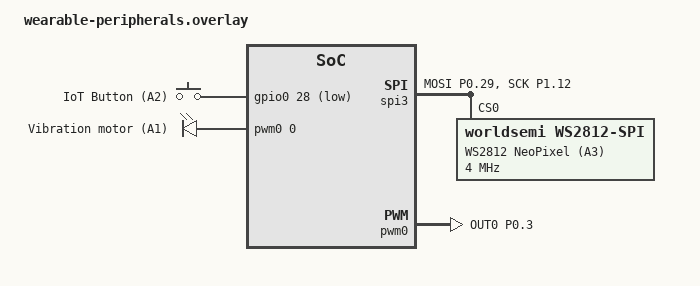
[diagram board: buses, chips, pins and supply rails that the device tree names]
// Copyright (c) 2025-2026 Kelvin Lee. Licensed under MIT.
//
// Wearable wearable peripherals overlay.
// Layer this on top of xiao_ble_sense_devkitv2-adafruit.overlay via west:
//
//   west build -b xiao_ble_sense -d build_wearable -- \
//     -DEXTRA_CONF_FILE=prj_wearable.conf \
//     -DEXTRA_DTC_OVERLAY_FILE="overlay/xiao_ble_sense_devkitv2-adafruit.overlay;overlay/wearable-peripherals.overlay"
//
// Changes vs the upstream devkit v2 overlay:
//   1. Disables &i2s0 — Kelvin's build has no speaker BFF. Frees A1/A2/A3.
//   2. Wires A2 (P0.28) as GPIO input for the Adafruit IoT Button + NeoPixel BFF.
//   3. Wires A3 (P0.29) as SPIM3 MOSI for the WS2812 NeoPixel (worldsemi,
//      ws2812-spi). SPIM3 has no TWIM sibling, unlike SPIM1 (= i2c1) — see below.
//   4. Wires A1 (P0.03) as PWM0 channel 0 for an optional second haptic motor.
//      Unused if Kelvin hasn't soldered the extra motor — safe to leave enabled.
//
// Pin map authority: ../../docs/PIN_MAP.md

#include <zephyr/dt-bindings/led/led.h>

/ {
    aliases {
        iot-button = &iot_button;
        led-strip = &led_strip;
        vibration-pwm = &vibration_pwm;
    };

    buttons {
        compatible = "gpio-keys";

        iot_button: button_iot {
            gpios = <&gpio0 28 (GPIO_PULL_UP | GPIO_ACTIVE_LOW)>;
            label = "IoT Button (A2)";
            zephyr,code = <INPUT_KEY_0>;
        };
    };

    pwmleds {
        compatible = "pwm-leds";

        vibration_pwm: vibration_pwm {
            pwms = <&pwm0 0 PWM_MSEC(20) PWM_POLARITY_NORMAL>;
            label = "Vibration motor (A1)";
        };
    };

};

// Free A1/A2/A3 from the upstream devkit's I2S speaker wiring.
&i2s0 {
    status = "disabled";
};

// Mic-silence fix (2026-07-01): the Xiao Sense board DTS leaves &pdm0 ENABLED
// with pinctrl (pdm0_default/pdm0_sleep) that owns the mic pins P1.00/P0.16.
// This firmware drives PDM via raw nrfx (not the Zephyr DMIC driver) and never
// resumes the pdm0 device, so under CONFIG_PM_DEVICE its sleep-pinctrl parks
// DIN (P0.16) as a disconnected input — the PDM clock runs but DIN reads a
// constant zero, so every Opus frame decodes to silence. Disabling the Zephyr
// node removes the second owner and leaves nrfx as the sole configurator of the
// mic pins.
&pdm0 {
    status = "disabled";
};

// NeoPixel on A3 via SPIM3 (worldsemi,ws2812-spi). SPIM3 (0x4002F000) is the
// standalone SPI instance with NO TWIM sibling. SPIM1 shares peripheral instance
// 1 (0x40004000) with the board's i2c1/TWIM1 — xiao_ble_common.dtsi enables i2c1
// with the note "Cannot be used together with spi1" — so enabling &spi1 for the
// WS2812 collided two drivers on one block/IRQ and hard-faulted. SPIM3 sidesteps
// that, and being pure EasyDMA (no irq_lock) it coexists cleanly with BLE.
&spi3 {
    status = "okay";
    pinctrl-0 = <&spi3_wearable>;
    pinctrl-1 = <&spi3_wearable_sleep>;
    pinctrl-names = "default", "sleep";
    /delete-property/ cs-gpios;

    led_strip: ws2812@0 {
        compatible = "worldsemi,ws2812-spi";
        reg = <0>;
        spi-max-frequency = <4000000>;
        spi-one-frame = <0x70>;       /* 1 bit */
        spi-zero-frame = <0x40>;      /* 0 bit */
        chain-length = <1>;
        color-mapping = <LED_COLOR_ID_GREEN
                         LED_COLOR_ID_RED
                         LED_COLOR_ID_BLUE>;
        label = "WS2812 NeoPixel (A3)";
    };
};

// PWM0 channel 0 on A1 (P0.03) for the optional vibration motor.
&pwm0 {
    status = "okay";
    pinctrl-0 = <&pwm0_wearable_motor>;
    pinctrl-1 = <&pwm0_wearable_motor_sleep>;
    pinctrl-names = "default", "sleep";
};

&pinctrl {
    spi3_wearable: spi3_wearable {
        group1 {
            psels = <NRF_PSEL(SPIM_MOSI, 0, 29)>,   // A3 = P0.29 → WS2812 DIN (data)
                    <NRF_PSEL(SPIM_SCK, 1, 12)>;    // D7 = P1.12 dummy SCK (free pin; nRF SPIM clocks MOSI off it)
        };
    };

    spi3_wearable_sleep: spi3_wearable_sleep {
        group1 {
            psels = <NRF_PSEL(SPIM_MOSI, 0, 29)>,
                    <NRF_PSEL(SPIM_SCK, 1, 12)>;
            low-power-enable;
        };
    };

    pwm0_wearable_motor: pwm0_wearable_motor {
        group1 {
            psels = <NRF_PSEL(PWM_OUT0, 0, 3)>;     // A1 = P0.03 → motor +
        };
    };

    pwm0_wearable_motor_sleep: pwm0_wearable_motor_sleep {
        group1 {
            psels = <NRF_PSEL(PWM_OUT0, 0, 3)>;
            low-power-enable;
        };
    };
};
